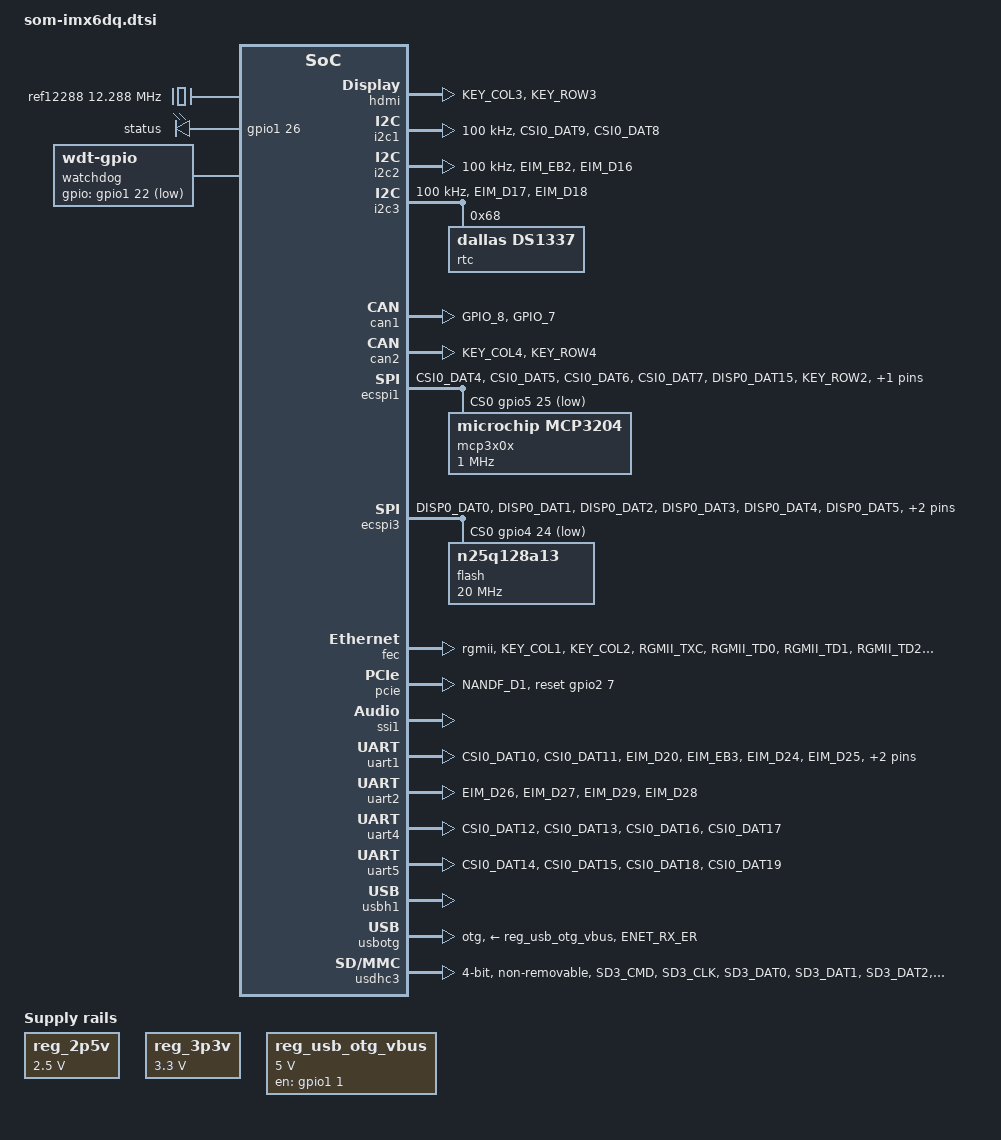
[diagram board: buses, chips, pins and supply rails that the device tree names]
/*
 * Copyright 2016 EMAC Inc.
 * Copyright 2016 QWERTY Embedded Design
 *
 * Author: Michael Welling <mwelling@ieee.org>
 *
 * This program is free software; you can redistribute it and/or modify
 * it under the terms of the GNU General Public License version 2 as
 * published by the Free Software Foundation.
 *
 */

#include <dt-bindings/gpio/gpio.h>
#include <dt-bindings/pwm/pwm.h>

/ {
	regulators {
		compatible = "simple-bus";
		#address-cells = <1>;
		#size-cells = <0>;

		reg_2p5v: regulator@0 {
			compatible = "regulator-fixed";
			reg = <0>;
			regulator-name = "2P5V";
			regulator-min-microvolt = <2500000>;
			regulator-max-microvolt = <2500000>;
			regulator-always-on;
		};

		reg_3p3v: regulator@1 {
			compatible = "regulator-fixed";
			reg = <1>;
			regulator-name = "3P3V";
			regulator-min-microvolt = <3300000>;
			regulator-max-microvolt = <3300000>;
			regulator-always-on;
		};

		reg_usb_otg_vbus: regulator@2 {
			compatible = "regulator-fixed";
			reg = <2>;
			regulator-name = "usb_otg_vbus";
			regulator-min-microvolt = <5000000>;
			regulator-max-microvolt = <5000000>;
			gpio = <&gpio1 1 GPIO_ACTIVE_HIGH>;
			enable-active-high;
		};
	};

	clocks {
		#address-cells = <1>;
		#size-cells = <0>;

		ref12288: ref12288 {
			#clock-cells = <0>;
			compatible = "fixed-clock";
			clock-frequency = <12288000>;
		};
	};

	leds {
		compatible = "gpio-leds";
		stat {
			label = "status";
			gpios = <&gpio1 26 GPIO_ACTIVE_HIGH>;
			default-state = "on";
		};
	};

	watchdog: watchdog {
		/* ADM706 */
		compatible = "linux,wdt-gpio";
		gpios = <&gpio1 22 GPIO_ACTIVE_LOW>;
		hw_algo = "toggle";
		hw_margin_ms = <1000>;
	};
};

&hdmi {
	pinctrl-names = "default";
	pinctrl-0 = <&pinctrl_hdmi_ddc>;
	status = "okay";
};

&i2c1 {
	clock-frequency = <100000>;
	pinctrl-names = "default";
	pinctrl-0 = <&pinctrl_i2c1>;
	status = "okay";
};

&i2c2 {
	clock-frequency = <100000>;
	pinctrl-names = "default";
	pinctrl-0 = <&pinctrl_i2c2>;
	status = "okay";
};

&i2c3 {
	clock-frequency = <100000>;
	pinctrl-names = "default";
	pinctrl-0 = <&pinctrl_i2c3>;
	status = "okay";

	rtc@68 {
		compatible = "dallas,ds1337";
		reg = <0x68>;
	};
};

&iomuxc {
	pinctrl-names = "default";

	imx6qdl-tfc {
		pinctrl_audmux: audmuxgrp {
			fsl,pins = <
				MX6QDL_PAD_DISP0_DAT23__AUD4_RXD	0x1b0b0
				MX6QDL_PAD_DISP0_DAT20__AUD4_TXC	0x130b0
				MX6QDL_PAD_DISP0_DAT21__AUD4_TXD	0x130b0
				MX6QDL_PAD_DISP0_DAT22__AUD4_TXFS	0x130b0
			>;
		};

		pinctrl_can1: can1grp {
			fsl,pins = <
				MX6QDL_PAD_GPIO_8__FLEXCAN1_RX		0x1b0b0
				MX6QDL_PAD_GPIO_7__FLEXCAN1_TX		0x1b0b0
			>;
		};

		pinctrl_can2: can2grp {
			fsl,pins = <
				MX6QDL_PAD_KEY_COL4__FLEXCAN2_TX	0x1b0b0
				MX6QDL_PAD_KEY_ROW4__FLEXCAN2_RX	0x1b0b0
			>;
		};

		pinctrl_enet: enetgrp {
			fsl,pins = <
				MX6QDL_PAD_KEY_COL1__ENET_MDIO          0x1b0b0
				MX6QDL_PAD_KEY_COL2__ENET_MDC           0x1b0b0
				MX6QDL_PAD_RGMII_TXC__RGMII_TXC		0x1b0b0
				MX6QDL_PAD_RGMII_TD0__RGMII_TD0		0x1b0b0
				MX6QDL_PAD_RGMII_TD1__RGMII_TD1		0x1b0b0
				MX6QDL_PAD_RGMII_TD2__RGMII_TD2		0x1b0b0
				MX6QDL_PAD_RGMII_TD3__RGMII_TD3		0x1b0b0
				MX6QDL_PAD_RGMII_TX_CTL__RGMII_TX_CTL	0x1b0b0
				MX6QDL_PAD_ENET_REF_CLK__ENET_TX_CLK	0x1b0b0
				MX6QDL_PAD_RGMII_RXC__RGMII_RXC		0x1b0b0
				MX6QDL_PAD_RGMII_RD0__RGMII_RD0		0x1b0b0
				MX6QDL_PAD_RGMII_RD1__RGMII_RD1		0x1b0b0
				MX6QDL_PAD_RGMII_RD2__RGMII_RD2		0x1b0b0
				MX6QDL_PAD_RGMII_RD3__RGMII_RD3		0x1b0b0
				MX6QDL_PAD_RGMII_RX_CTL__RGMII_RX_CTL	0x1b0b0
				MX6QDL_PAD_GPIO_6__ENET_IRQ		0x000b1
				MX6QDL_PAD_GPIO_6__GPIO1_IO06		0x1b0b1
				MX6QDL_PAD_EIM_OE__GPIO2_IO25		0x1b0b1
				MX6QDL_PAD_EIM_CS0__GPIO2_IO23		0x1b0b1
				MX6QDL_PAD_EIM_CS1__GPIO2_IO24		0x1b0b1
			>;
		};

		pinctrl_i2c1: i2c1grp {
			fsl,pins = <
				MX6QDL_PAD_CSI0_DAT9__I2C1_SCL 		0x4001b8b1
				MX6QDL_PAD_CSI0_DAT8__I2C1_SDA 		0x4001b8b1
			>;
		};

		pinctrl_i2c2: i2c2grp {
			fsl,pins = <
				MX6QDL_PAD_EIM_EB2__I2C2_SCL		0x4001b8b1
				MX6QDL_PAD_EIM_D16__I2C2_SDA		0x4001b8b1
			>;
		};

		pinctrl_i2c3: i2c3grp {
			fsl,pins = <
				MX6QDL_PAD_EIM_D17__I2C3_SCL		0x4001f8b1
				MX6QDL_PAD_EIM_D18__I2C3_SDA		0x4001f8b1
			>;
		};

		pinctrl_hdmi_ddc: hdmiddcgrp {
			fsl,pins = <
				MX6QDL_PAD_KEY_COL3__HDMI_TX_DDC_SCL		0x4001b8b1
				MX6QDL_PAD_KEY_ROW3__HDMI_TX_DDC_SDA		0x4001b8b1
			>;
		};

		pinctrl_pcie: pciegrp {
			fsl,pins = <
				MX6QDL_PAD_NANDF_D1__GPIO2_IO01		0x1b0b0
			>;
		};

		pinctrl_uart1: uart1grp {
			fsl,pins = <
				MX6QDL_PAD_CSI0_DAT10__UART1_TX_DATA	0x1b0b1
				MX6QDL_PAD_CSI0_DAT11__UART1_RX_DATA	0x1b0b1
				MX6QDL_PAD_EIM_D20__UART1_RTS_B		0x1b0b1
				MX6QDL_PAD_EIM_EB3__UART1_RI_B		0x1b0b1
				MX6QDL_PAD_EIM_D24__UART1_DTR_B		0x1b0b1
				MX6QDL_PAD_EIM_D25__UART1_DSR_B		0x1b0b1
				MX6QDL_PAD_EIM_D23__UART1_DCD_B		0x1b0b1
				MX6QDL_PAD_EIM_D19__UART1_CTS_B		0x1b0b1
			>;
		};

		pinctrl_uart2: uart2grp {
			fsl,pins = <
				MX6QDL_PAD_EIM_D26__UART2_TX_DATA       0x1b0b1
				MX6QDL_PAD_EIM_D27__UART2_RX_DATA       0x1b0b1
				MX6QDL_PAD_EIM_D29__UART2_RTS_B		0x1b0b1
				MX6QDL_PAD_EIM_D28__UART2_CTS_B		0x1b0b1
			>;
		};

		pinctrl_uart4: uart4grp {
			fsl,pins = <
				MX6QDL_PAD_CSI0_DAT12__UART4_TX_DATA	0x1b0b1
				MX6QDL_PAD_CSI0_DAT13__UART4_RX_DATA	0x1b0b1
				MX6QDL_PAD_CSI0_DAT16__UART4_RTS_B	0x1b0b1
				MX6QDL_PAD_CSI0_DAT17__UART4_CTS_B	0x1b0b1
			>;
		};

		pinctrl_uart5: uart5grp {
			fsl,pins = <
				MX6QDL_PAD_CSI0_DAT14__UART5_TX_DATA	0x1b0b1
				MX6QDL_PAD_CSI0_DAT15__UART5_RX_DATA	0x1b0b1
				MX6QDL_PAD_CSI0_DAT18__UART5_RTS_B	0x1b0b1
				MX6QDL_PAD_CSI0_DAT19__UART5_CTS_B	0x1b0b1
			>;
		};

		pinctrl_usbotg: usbotggrp {
			fsl,pins = <
				MX6QDL_PAD_ENET_RX_ER__USB_OTG_ID	0x17059
			>;
		};

		pinctrl_usdhc2: usdhc2grp {
			fsl,pins = <
				MX6QDL_PAD_SD2_CMD__SD2_CMD		0x17059
				MX6QDL_PAD_SD2_CLK__SD2_CLK		0x10059
				MX6QDL_PAD_SD2_DAT0__SD2_DATA0		0x17059
				MX6QDL_PAD_SD2_DAT1__SD2_DATA1		0x17059
				MX6QDL_PAD_SD2_DAT2__SD2_DATA2		0x17059
				MX6QDL_PAD_SD2_DAT3__SD2_DATA3		0x17059
				MX6QDL_PAD_GPIO_4__GPIO1_IO04           0x1b0b0 /* CD */
			>;
		};

		pinctrl_usdhc3: usdhc3grp {
			fsl,pins = <
				MX6QDL_PAD_SD3_CMD__SD3_CMD		0x17059
				MX6QDL_PAD_SD3_CLK__SD3_CLK		0x10059
				MX6QDL_PAD_SD3_DAT0__SD3_DATA0		0x17059
				MX6QDL_PAD_SD3_DAT1__SD3_DATA1		0x17059
				MX6QDL_PAD_SD3_DAT2__SD3_DATA2		0x17059
				MX6QDL_PAD_SD3_DAT3__SD3_DATA3		0x17059
			>;
		};

		pinctrl_usdhc4: usdhc4grp {
			fsl,pins = <
				MX6QDL_PAD_SD4_CMD__SD4_CMD		0x17059
				MX6QDL_PAD_SD4_CLK__SD4_CLK		0x10059
				MX6QDL_PAD_SD4_DAT0__SD4_DATA0		0x17059
				MX6QDL_PAD_SD4_DAT1__SD4_DATA1		0x17059
				MX6QDL_PAD_SD4_DAT2__SD4_DATA2		0x17059
				MX6QDL_PAD_SD4_DAT3__SD4_DATA3		0x17059
			>;
               };

		pinctrl_pwm1: pwm1grp {
			fsl,pins = <
				MX6QDL_PAD_DISP0_DAT8__PWM1_OUT		0x1b0b1
			>;
		};

		pinctrl_pwm2: pwm2grp {
			fsl,pins = <
				MX6QDL_PAD_DISP0_DAT9__PWM2_OUT		0x1b0b1
			>;
		};

		pinctrl_pwm3: pwm3grp {
			fsl,pins = <
				MX6QDL_PAD_SD1_DAT1__PWM3_OUT		0x1b0b1
			>;
		};

		pinctrl_pwm4: pwm4grp {
			fsl,pins = <
				MX6QDL_PAD_SD1_CMD__PWM4_OUT		0x1b0b1
			>;
		};

		pinctrl_ecspi1: ecspi1grp {
			fsl,pins = <
				MX6QDL_PAD_CSI0_DAT4__ECSPI1_SCLK	0x1b0b1
				MX6QDL_PAD_CSI0_DAT5__ECSPI1_MOSI	0x1b0b1
				MX6QDL_PAD_CSI0_DAT6__ECSPI1_MISO	0x1b0b1
				MX6QDL_PAD_CSI0_DAT7__GPIO5_IO25	0x1b0b1 /* MCP3204 CS0# */
				MX6QDL_PAD_DISP0_DAT15__GPIO5_IO09	0x1b0b1
				MX6QDL_PAD_KEY_ROW2__GPIO4_IO11		0x1b0b1
				MX6QDL_PAD_GPIO_16__GPIO7_IO11		0x1b0b1
			>;
		};

		pinctrl_ecspi3: ecspi3grp {
			fsl,pins = <
				MX6QDL_PAD_DISP0_DAT0__ECSPI3_SCLK	0x1b0b1
				MX6QDL_PAD_DISP0_DAT1__ECSPI3_MOSI	0x1b0b1
				MX6QDL_PAD_DISP0_DAT2__ECSPI3_MISO	0x1b0b1
				MX6QDL_PAD_DISP0_DAT3__GPIO4_IO24	0x1b0b1
				MX6QDL_PAD_DISP0_DAT4__GPIO4_IO25	0x1b0b1
				MX6QDL_PAD_DISP0_DAT5__GPIO4_IO26	0x1b0b1
				MX6QDL_PAD_DISP0_DAT6__GPIO4_IO27	0x1b0b1
				MX6QDL_PAD_DISP0_DAT7__GPIO4_IO28	0x1b0b1
			>;
		};
	};
};

&can1 {
	pinctrl-names = "default";
	pinctrl-0 = <&pinctrl_can1>;
	status = "okay";
};

&can2 {
	pinctrl-names = "default";
	pinctrl-0 = <&pinctrl_can2>;
	status = "okay";
};

&ecspi1 {
	fsl,spi-num-chipselects = <4>;
	cs-gpios = <&gpio5 25 GPIO_ACTIVE_LOW>,
		<&gpio5 9 GPIO_ACTIVE_LOW>,
		<&gpio4 11 GPIO_ACTIVE_LOW>,
		<&gpio7 11 GPIO_ACTIVE_LOW>;
	pinctrl-names = "default";
	pinctrl-0 = <&pinctrl_ecspi1>;
	status = "okay";

	mcp3x0x@0 {
		compatible = "microchip,mcp3204";
		reg = <0>;
		spi-max-frequency = <1000000>;
	};
};

&ecspi3 {
	fsl,spi-num-chipselects = <4>;
	cs-gpios = <&gpio4 24 GPIO_ACTIVE_LOW>,
		<&gpio4 25 GPIO_ACTIVE_LOW>,
		<&gpio4 26 GPIO_ACTIVE_LOW>,
		<&gpio4 27 GPIO_ACTIVE_LOW>;
	pinctrl-names = "default";
	pinctrl-0 = <&pinctrl_ecspi3>;
	status = "okay";

	flash: n25q128@0 {
		compatible = "n25q128a13";
		reg = <0>;
		spi-max-frequency = <20000000>;
	};
};

&fec {
	pinctrl-names = "default";
	pinctrl-0 = <&pinctrl_enet>;
	phy-mode = "rgmii";
	phy-reset-gpios = <&gpio3 29 0>;
	status = "okay";
};

&pcie {
	pinctrl-names = "default";
	pinctrl-0 = <&pinctrl_pcie>;
	reset-gpio = <&gpio2 7 0>;
	status = "okay";
};

&ssi1 {
	status = "okay";
};

&uart1 {
	pinctrl-names = "default";
	pinctrl-0 = <&pinctrl_uart1>;
	uart-has-rtscts;
	status = "okay";
};

&uart2 {
	pinctrl-names = "default";
	pinctrl-0 = <&pinctrl_uart2>;
	uart-has-rtscts;
	status = "okay";
};

&uart4 {
	pinctrl-names = "default";
	pinctrl-0 = <&pinctrl_uart4>;
	uart-has-rtscts;
	status = "okay";
};

&uart5 {
	pinctrl-names = "default";
	pinctrl-0 = <&pinctrl_uart5>;
	uart-has-rtscts;
	status = "okay";
};

&usbh1 {
	status = "okay";
};

&usbotg {
	vbus-supply = <&reg_usb_otg_vbus>;
	pinctrl-names = "default";
	pinctrl-0 = <&pinctrl_usbotg>;
	disable-over-current;
	dr_mode = "otg";
	status = "okay";
};

&usdhc3 {
	pinctrl-names = "default";
	pinctrl-0 = <&pinctrl_usdhc3>;
	non-removable;
	no-1-8-v;
	sd-uhs-sdr50;
	bus-width = <4>;
	status = "okay";
};
